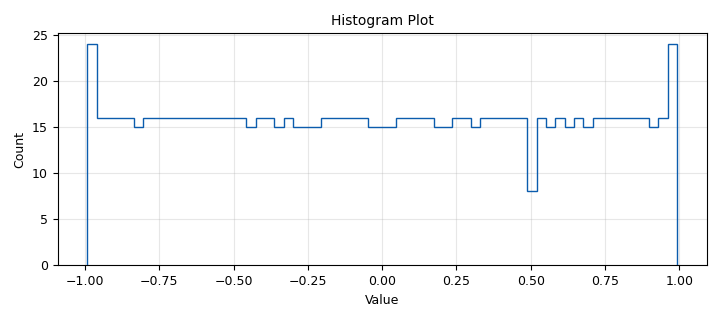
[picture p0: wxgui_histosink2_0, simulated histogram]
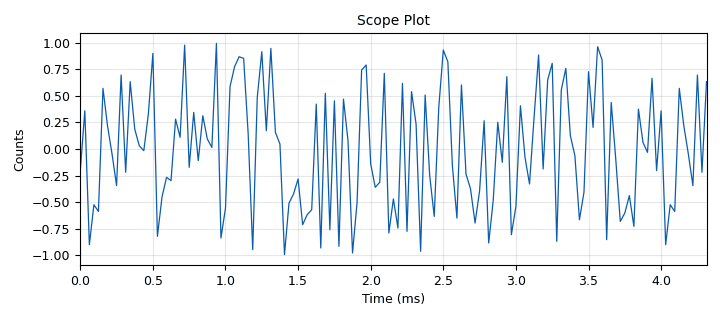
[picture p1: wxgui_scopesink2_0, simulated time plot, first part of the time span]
<?xml version='1.0' encoding='utf-8'?>
<?grc format='1' created='3.7.9'?>
<flow_graph>
<block>
<key>options</key>
<param><key>id</key><value>top_block</value></param>
<param><key>category</key><value>Custom</value></param>
<param><key>generate_options</key><value>wx_gui</value></param>
</block>
<block>
<key>variable</key>
<param><key>id</key><value>samp_rate</value></param>
<param><key>value</key><value>32000</value></param>
</block>
<block>
<key>variable</key>
<param><key>id</key><value>sound_card</value></param>
<param><key>value</key><value>48000</value></param>
</block>
<block>
<key>note</key>
<param><key>id</key><value>Degree</value></param>
<param><key>note</key><value>That's the order of polynomial</value></param>
</block>
<block>
<key>analog_const_source_x</key>
<param><key>id</key><value>analog_const_source_x_0</value></param>
<param><key>const</key><value>255</value></param>
<param><key>_enabled</key><value>0</value></param>
<param><key>type</key><value>float</value></param>
</block>
<block>
<key>blocks_char_to_float</key>
<param><key>id</key><value>blocks_char_to_float_0</value></param>
<param><key>scale</key><value>1</value></param>
</block>
<block>
<key>blocks_multiply_const_vxx</key>
<param><key>id</key><value>blocks_multiply_const_vxx_0</value></param>
<param><key>const</key><value>1.0/128</value></param>
<param><key>type</key><value>float</value></param>
</block>
<block>
<key>blocks_throttle</key>
<param><key>id</key><value>blocks_throttle_0</value></param>
<param><key>samples_per_second</key><value>samp_rate</value></param>
<param><key>type</key><value>float</value></param>
</block>
<block>
<key>blocks_uchar_to_float</key>
<param><key>id</key><value>blocks_uchar_to_float_0</value></param>
<param><key>_enabled</key><value>0</value></param>
</block>
<block>
<key>blocks_unpacked_to_packed_xx</key>
<param><key>id</key><value>blocks_unpacked_to_packed_xx_0</value></param>
<param><key>bits_per_chunk</key><value>1</value></param>
<param><key>endianness</key><value>gr.GR_LSB_FIRST</value></param>
<param><key>type</key><value>byte</value></param>
</block>
<block>
<key>digital_glfsr_source_x</key>
<param><key>id</key><value>digital_glfsr_source_x_0</value></param>
<param><key>degree</key><value>7</value></param>
<param><key>mask</key><value>0</value></param>
<param><key>repeat</key><value>True</value></param>
<param><key>seed</key><value>1</value></param>
<param><key>type</key><value>byte</value></param>
</block>
<block>
<key>note</key>
<param><key>id</key><value>note_0</value></param>
</block>
<block>
<key>wxgui_histosink2</key>
<param><key>id</key><value>wxgui_histosink2_0</value></param>
<param><key>frame_size</key><value>1000</value></param>
<param><key>num_bins</key><value>63</value></param>
<param><key>title</key><value>Histogram Plot</value></param>
</block>
<block>
<key>wxgui_scopesink2</key>
<param><key>id</key><value>wxgui_scopesink2_0</value></param>
<param><key>ac_couple</key><value>False</value></param>
<param><key>num_inputs</key><value>1</value></param>
<param><key>samp_rate</key><value>samp_rate</value></param>
<param><key>t_scale</key><value>.002</value></param>
<param><key>title</key><value>Scope Plot</value></param>
<param><key>trig_mode</key><value>wxgui.TRIG_MODE_AUTO</value></param>
<param><key>type</key><value>float</value></param>
<param><key>v_offset</key><value>0</value></param>
<param><key>v_scale</key><value>0</value></param>
<param><key>xy_mode</key><value>False</value></param>
<param><key>y_axis_label</key><value>Counts</value></param>
</block>
<connection><source_block_id>analog_const_source_x_0</source_block_id><sink_block_id>blocks_throttle_0</sink_block_id><source_key>0</source_key><sink_key>0</sink_key></connection>
<connection><source_block_id>blocks_char_to_float_0</source_block_id><sink_block_id>blocks_multiply_const_vxx_0</sink_block_id><source_key>0</source_key><sink_key>0</sink_key></connection>
<connection><source_block_id>blocks_multiply_const_vxx_0</source_block_id><sink_block_id>blocks_throttle_0</sink_block_id><source_key>0</source_key><sink_key>0</sink_key></connection>
<connection><source_block_id>blocks_throttle_0</source_block_id><sink_block_id>wxgui_histosink2_0</sink_block_id><source_key>0</source_key><sink_key>0</sink_key></connection>
<connection><source_block_id>blocks_throttle_0</source_block_id><sink_block_id>wxgui_scopesink2_0</sink_block_id><source_key>0</source_key><sink_key>0</sink_key></connection>
<connection><source_block_id>blocks_uchar_to_float_0</source_block_id><sink_block_id>blocks_multiply_const_vxx_0</sink_block_id><source_key>0</source_key><sink_key>0</sink_key></connection>
<connection><source_block_id>blocks_unpacked_to_packed_xx_0</source_block_id><sink_block_id>blocks_char_to_float_0</sink_block_id><source_key>0</source_key><sink_key>0</sink_key></connection>
<connection><source_block_id>blocks_unpacked_to_packed_xx_0</source_block_id><sink_block_id>blocks_uchar_to_float_0</sink_block_id><source_key>0</source_key><sink_key>0</sink_key></connection>
<connection><source_block_id>digital_glfsr_source_x_0</source_block_id><sink_block_id>blocks_unpacked_to_packed_xx_0</sink_block_id><source_key>0</source_key><sink_key>0</sink_key></connection>
</flow_graph>
